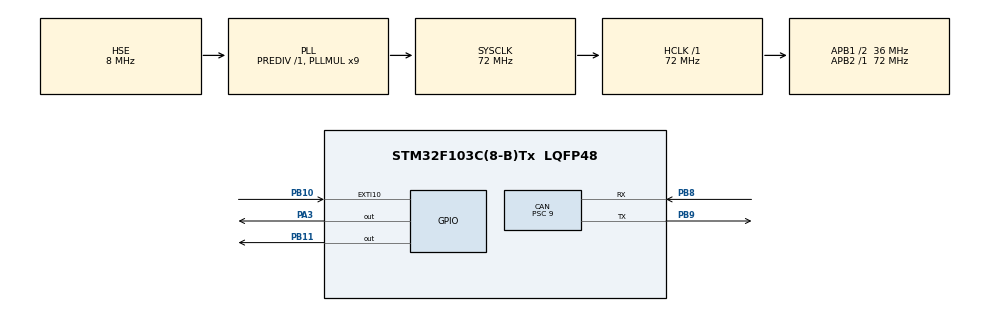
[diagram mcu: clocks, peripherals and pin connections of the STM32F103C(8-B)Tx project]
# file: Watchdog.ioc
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Mcu.Family=STM32F1
RCC.PLLSourceVirtual=RCC_PLLSOURCE_HSE
PC15-OSC32_OUT.Mode=LSE-External-Oscillator
TIM4.AutoReloadPreload=TIM_AUTORELOAD_PRELOAD_ENABLE
PD1-OSC_OUT.Mode=HSE-External-Oscillator
VP_TIM4_VS_OPM.Mode=OPM_bit
CAN.CalculateBaudRate=250000
PB8.GPIO_PuPd=GPIO_NOPULL
PD0-OSC_IN.Signal=RCC_OSC_IN
PB11.GPIO_PuPd=GPIO_PULLDOWN
RCC.APB1CLKDivider=RCC_HCLK_DIV2
PC14-OSC32_IN.Signal=RCC_OSC32_IN
PB11.Signal=GPIO_Output
CAN.CalculateTimeBit=4000.00
RCC.SYSCLKSource=RCC_SYSCLKSOURCE_PLLCLK
ProjectManager.StackSize=0x400
PD1-OSC_OUT.Signal=RCC_OSC_OUT
PA13.Signal=SYS_JTMS-SWDIO
CAN.BS2=CAN_BS2_8TQ
CAN.BS1=CAN_BS1_7TQ
CAN.Prescaler=9
ProjectManager.TargetToolchain=STM32CubeIDE
RCC.HCLKFreq_Value=72000000
PB9.Mode=CAN_Activate
RCC.APB2TimFreq_Value=72000000
RCC.USBFreq_Value=72000000
CAN.Mode=CAN_MODE_NORMAL
TIM4.Prescaler=10986
PC15-OSC32_OUT.Signal=RCC_OSC32_OUT
RCC.AHBFreq_Value=72000000
PD0-OSC_IN.Mode=HSE-External-Oscillator
PB10.Signal=GPXTI10
NVIC.EXTI15_10_IRQn=true\:0\:0\:false\:false\:true\:true\:true
board=custom
RCC.PLLMUL=RCC_PLL_MUL9
PB9.GPIO_Mode=GPIO_MODE_AF_PP
RCC.APB2Freq_Value=72000000
PC14-OSC32_IN.Mode=LSE-External-Oscillator
VP_TIM2_VS_ClockSourceINT.Mode=Internal
PA14.Mode=Serial_Wire
CAN.NART=ENABLE
NVIC.TIM2_IRQn=true\:0\:0\:false\:false\:true\:true\:true
PA13.Mode=Serial_Wire
Mcu.Name=STM32F103C(8-B)Tx
CAN.CalculateTimeQuantum=250.0
RCC.SYSCLKFreq_VALUE=72000000
Mcu.Package=LQFP48
PB9.Signal=CAN_TX
TIM2.Prescaler=10
PA14.Signal=SYS_JTCK-SWCLK
ProjectManager.HeapSize=0x200
NVIC.PriorityGroup=NVIC_PRIORITYGROUP_4
PB9.GPIO_Speed=GPIO_SPEED_FREQ_HIGH
PB8.Mode=CAN_Activate
CAN.TXFP=ENABLE
RCC.APB1TimFreq_Value=72000000
PB8.Signal=CAN_RX
RCC.APB1Freq_Value=36000000
PA3.Signal=GPIO_Output

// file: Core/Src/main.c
/* USER CODE BEGIN Header */
/**
  ******************************************************************************
  * @file           : main.c
  * @brief          : Main program body
  ******************************************************************************
  * @attention
  *
  * <h2><center>&copy; Copyright (c) 2021 STMicroelectronics.
  * All rights reserved.</center></h2>
  *
  * This software component is licensed by ST under BSD 3-Clause license,
  * the "License"; You may not use this file except in compliance with the
  * License. You may obtain a copy of the License at:
  *                        opensource.org/licenses/BSD-3-Clause
  *
  ******************************************************************************
  */
/* USER CODE END Header */
#include "main.h"

/* USER CODE BEGIN Includes */
#include "parallel_ram.h"
#include "circle_queue.h"

/* USER CODE END Includes */

CAN_HandleTypeDef hcan;

TIM_HandleTypeDef htim2;
TIM_HandleTypeDef htim4;

/* USER CODE BEGIN PV */
struct Queue queueRAM = {0, 0, {0}};
struct Queue queueRx = {0, 0, {0}};
#define PACKAGE_SIZE 8
uint32_t counter = 0;

CAN_FilterTypeDef CanFilter;
CAN_TxHeaderTypeDef CanTxHeader;
CAN_RxHeaderTypeDef CanRxHeader;
/* USER CODE END PV */

void SystemClock_Config(void);
static void MX_GPIO_Init(void);
static void MX_CAN_Init(void);
static void MX_TIM4_Init(void);
static void MX_TIM2_Init(void);

/* USER CODE BEGIN 0 */

void watchDogHandler(){
	counter = 0;
}

/* USER CODE END 0 */

int main(void)
{

  /* MCU Configuration--------------------------------------------------------*/

  /* Reset of all peripherals, Initializes the Flash interface and the Systick. */
  HAL_Init();

  /* USER CODE BEGIN Init */
  HAL_CAN_Start(&hcan);
  HAL_TIM_Base_Start_IT(&htim2);
  /* USER CODE END Init */

  /* Configure the system clock */
  SystemClock_Config();

  /* Initialize all configured peripherals */
  MX_GPIO_Init();
  MX_CAN_Init();
  MX_TIM4_Init();
  MX_TIM2_Init();
  /* USER CODE BEGIN 2 */

  /*	if(GPIO_Pin == GPIO_PIN_0){
  		HAL_GPIO_TogglePin(GPIOB, GPIO_PIN_12);
  		//Kode der implementerer en cirkel buffer
  		for (int i = 0; i<8; i++){
  			EnterQueue(&queueRAM,(uint8_t) 15);
  		}
  		for (int i = 0; i<8; i++){
  			EnterQueue(&queueRAM,(uint8_t) 27);
  		}
  		for (int i = 0; i<8; i++){
  			EnterQueue(&queueRAM,(uint8_t) 102);
  		}
  	}
  	*/
  //	sendData(0x3, 1024, tESTdATA);
  	//sendData(0x5, 1024, tESTdATA);
  	//sendData(0x7, 1024, tESTdATA);

  /* USER CODE END 2 */

  /* Infinite loop */
  /* USER CODE BEGIN WHILE */
  while (1)
  {

	  uint8_t fejlmereArray[8] = {2, 2, 2, 2, 2, 2, 2, 2};
	 // sendData(0xA, 8, &fejlmereArray);

	  if (counter % 1000 == 0)
	  {
		  HAL_GPIO_WritePin(GPIOB, GPIO_PIN_11, GPIO_PIN_SET);
		  HAL_Delay(50);
		  HAL_GPIO_WritePin(GPIOB, GPIO_PIN_11, GPIO_PIN_RESET);
	  }
	  if (counter > 10000){
	  sendData(0xA, 8, &fejlmereArray);
	  counter = 0;
	  }

    /* USER CODE END WHILE */

  }
}

void SystemClock_Config(void)
{
  RCC_OscInitTypeDef RCC_OscInitStruct = {0};
  RCC_ClkInitTypeDef RCC_ClkInitStruct = {0};

  /** Initializes the RCC Oscillators according to the specified parameters
  * in the RCC_OscInitTypeDef structure.
  */
  RCC_OscInitStruct.OscillatorType = RCC_OSCILLATORTYPE_HSE;
  RCC_OscInitStruct.HSEState = RCC_HSE_ON;
  RCC_OscInitStruct.HSEPredivValue = RCC_HSE_PREDIV_DIV1;
  RCC_OscInitStruct.HSIState = RCC_HSI_ON;
  RCC_OscInitStruct.PLL.PLLState = RCC_PLL_ON;
  RCC_OscInitStruct.PLL.PLLSource = RCC_PLLSOURCE_HSE;
  RCC_OscInitStruct.PLL.PLLMUL = RCC_PLL_MUL9;
  if (HAL_RCC_OscConfig(&RCC_OscInitStruct) != HAL_OK)
  {
    Error_Handler();
  }
  /** Initializes the CPU, AHB and APB buses clocks
  */
  RCC_ClkInitStruct.ClockType = RCC_CLOCKTYPE_HCLK|RCC_CLOCKTYPE_SYSCLK
                              |RCC_CLOCKTYPE_PCLK1|RCC_CLOCKTYPE_PCLK2;
  RCC_ClkInitStruct.SYSCLKSource = RCC_SYSCLKSOURCE_PLLCLK;
  RCC_ClkInitStruct.AHBCLKDivider = RCC_SYSCLK_DIV1;
  RCC_ClkInitStruct.APB1CLKDivider = RCC_HCLK_DIV2;
  RCC_ClkInitStruct.APB2CLKDivider = RCC_HCLK_DIV1;

  if (HAL_RCC_ClockConfig(&RCC_ClkInitStruct, FLASH_LATENCY_2) != HAL_OK)
  {
    Error_Handler();
  }
}

static void MX_CAN_Init(void)
{

  /* USER CODE BEGIN CAN_Init 0 */

	  CanTxHeader.DLC = PACKAGE_SIZE;						// Der kommer 8 byte som data i beskeden
	  CanTxHeader.ExtId = 0x00000000;						// 32 bit ID (29 er identifier)
	  CanTxHeader.IDE = CAN_ID_EXT;							// Vi har et extended ID = 32 bit til forskel fra standard på 16 bit (11 er identifier)
	  CanTxHeader.RTR = CAN_RTR_DATA;						// Vi sender data
	  CanTxHeader.TransmitGlobalTime = DISABLE;				// Der skal IKKE sendes et timestamp med hver besked

  /* USER CODE END CAN_Init 0 */

  /* USER CODE BEGIN CAN_Init 1 */

	  __HAL_RCC_CAN1_CLK_ENABLE();

  /* USER CODE END CAN_Init 1 */
  hcan.Instance = CAN1;
  hcan.Init.Prescaler = 9;
  hcan.Init.Mode = CAN_MODE_NORMAL;
  hcan.Init.SyncJumpWidth = CAN_SJW_1TQ;
  hcan.Init.TimeSeg1 = CAN_BS1_7TQ;
  hcan.Init.TimeSeg2 = CAN_BS2_8TQ;
  hcan.Init.TimeTriggeredMode = DISABLE;
  hcan.Init.AutoBusOff = DISABLE;
  hcan.Init.AutoWakeUp = DISABLE;
  hcan.Init.AutoRetransmission = ENABLE;
  hcan.Init.ReceiveFifoLocked = DISABLE;
  hcan.Init.TransmitFifoPriority = ENABLE;
  if (HAL_CAN_Init(&hcan) != HAL_OK)
  {
    Error_Handler();
  }
  /* USER CODE BEGIN CAN_Init 2 */

  //HAL_CAN_ConfigFilter(&hcan, &CanFilter);
  //HAL_CAN_ActivateNotification(&hcan, CAN_IT_RX_FIFO0_MSG_PENDING);
  HAL_CAN_Start(&hcan);
  /* USER CODE END CAN_Init 2 */

}

static void MX_TIM2_Init(void)
{

  TIM_ClockConfigTypeDef sClockSourceConfig = {0};
  TIM_MasterConfigTypeDef sMasterConfig = {0};

  htim2.Instance = TIM2;
  htim2.Init.Prescaler = 10;
  htim2.Init.CounterMode = TIM_COUNTERMODE_UP;
  htim2.Init.Period = 65535;
  htim2.Init.ClockDivision = TIM_CLOCKDIVISION_DIV1;
  htim2.Init.AutoReloadPreload = TIM_AUTORELOAD_PRELOAD_DISABLE;
  if (HAL_TIM_Base_Init(&htim2) != HAL_OK)
  {
    Error_Handler();
  }
  sClockSourceConfig.ClockSource = TIM_CLOCKSOURCE_INTERNAL;
  if (HAL_TIM_ConfigClockSource(&htim2, &sClockSourceConfig) != HAL_OK)
  {
    Error_Handler();
  }
  sMasterConfig.MasterOutputTrigger = TIM_TRGO_RESET;
  sMasterConfig.MasterSlaveMode = TIM_MASTERSLAVEMODE_DISABLE;
  if (HAL_TIMEx_MasterConfigSynchronization(&htim2, &sMasterConfig) != HAL_OK)
  {
    Error_Handler();
  }

}

static void MX_TIM4_Init(void)
{

  TIM_MasterConfigTypeDef sMasterConfig = {0};

  htim4.Instance = TIM4;
  htim4.Init.Prescaler = 10986;
  htim4.Init.CounterMode = TIM_COUNTERMODE_UP;
  htim4.Init.Period = 65535;
  htim4.Init.ClockDivision = TIM_CLOCKDIVISION_DIV1;
  htim4.Init.AutoReloadPreload = TIM_AUTORELOAD_PRELOAD_ENABLE;
  if (HAL_TIM_OnePulse_Init(&htim4, TIM_OPMODE_SINGLE) != HAL_OK)
  {
    Error_Handler();
  }
  sMasterConfig.MasterOutputTrigger = TIM_TRGO_RESET;
  sMasterConfig.MasterSlaveMode = TIM_MASTERSLAVEMODE_DISABLE;
  if (HAL_TIMEx_MasterConfigSynchronization(&htim4, &sMasterConfig) != HAL_OK)
  {
    Error_Handler();
  }

}

static void MX_GPIO_Init(void)
{
  GPIO_InitTypeDef GPIO_InitStruct = {0};

  /* GPIO Ports Clock Enable */
  __HAL_RCC_GPIOC_CLK_ENABLE();
  __HAL_RCC_GPIOD_CLK_ENABLE();
  __HAL_RCC_GPIOA_CLK_ENABLE();
  __HAL_RCC_GPIOB_CLK_ENABLE();

  /*Configure GPIO pin Output Level */
  HAL_GPIO_WritePin(GPIOA, GPIO_PIN_3, GPIO_PIN_RESET);

  /*Configure GPIO pin Output Level */
  HAL_GPIO_WritePin(GPIOB, GPIO_PIN_11, GPIO_PIN_RESET);

  /*Configure GPIO pin : PA3 */
  GPIO_InitStruct.Pin = GPIO_PIN_3;
  GPIO_InitStruct.Mode = GPIO_MODE_OUTPUT_PP;
  GPIO_InitStruct.Pull = GPIO_NOPULL;
  GPIO_InitStruct.Speed = GPIO_SPEED_FREQ_LOW;
  HAL_GPIO_Init(GPIOA, &GPIO_InitStruct);

  /*Configure GPIO pin : PB10 */
  GPIO_InitStruct.Pin = GPIO_PIN_10;
  GPIO_InitStruct.Mode = GPIO_MODE_IT_RISING;
  GPIO_InitStruct.Pull = GPIO_NOPULL;
  HAL_GPIO_Init(GPIOB, &GPIO_InitStruct);

  /*Configure GPIO pin : PB11 */
  GPIO_InitStruct.Pin = GPIO_PIN_11;
  GPIO_InitStruct.Mode = GPIO_MODE_OUTPUT_PP;
  GPIO_InitStruct.Pull = GPIO_PULLDOWN;
  GPIO_InitStruct.Speed = GPIO_SPEED_FREQ_LOW;
  HAL_GPIO_Init(GPIOB, &GPIO_InitStruct);

  /* EXTI interrupt init*/
  HAL_NVIC_SetPriority(EXTI15_10_IRQn, 0, 0);
  HAL_NVIC_EnableIRQ(EXTI15_10_IRQn);

}

/* USER CODE BEGIN 4 */

void HAL_SYSTICK_Callback(void){
	counter++;
}

void HAL_GPIO_EXTI_Callback(uint16_t GPIO_Pin)
{
	 uint8_t tESTdATA[1024];
	 for (int i = 0; i < 1024; i++) {
		 tESTdATA[i] = i % 256;
	 }
/*	if(GPIO_Pin == GPIO_PIN_0){
		HAL_GPIO_TogglePin(GPIOB, GPIO_PIN_12);
		//Kode der implementerer en cirkel buffer
		for (int i = 0; i<8; i++){
			EnterQueue(&queueRAM,(uint8_t) 15);
		}
		for (int i = 0; i<8; i++){
			EnterQueue(&queueRAM,(uint8_t) 27);
		}
		for (int i = 0; i<8; i++){
			EnterQueue(&queueRAM,(uint8_t) 102);
		}
	}
	*/
	 uint8_t fejlFjerdeArray[8] = {4,4,4,4,4,4,4,4};
	//sendData(0xA, 8, fejlFjerdeArray);
	//sendData(0x5, 1024, tESTdATA);
	//sendData(0x7, 1024, tESTdATA);
}

void sendData(uint32_t TxID, uint16_t numOfBytes, uint8_t *dataArray) {
	uint8_t dataToMB[PACKAGE_SIZE] = {0};
	uint32_t randoMailBox;
	CanTxHeader.ExtId = TxID;
if (numOfBytes % PACKAGE_SIZE == 0)
{
	for (int i = 0; i < numOfBytes/PACKAGE_SIZE; i++) {
		while (HAL_CAN_GetTxMailboxesFreeLevel(&hcan) == 0) {}
		if (messageSplitter(dataArray, dataToMB, i)) {
			if (HAL_CAN_AddTxMessage(&hcan, &CanTxHeader, dataToMB, &randoMailBox) != HAL_OK) {
				Error_Handler();
			}
		}
	}

}
else {return 0;}

}
void messageSplitter(uint8_t *sourceArray, uint8_t *destinationArray, uint8_t position)
{

	for(int i=0 ; i < PACKAGE_SIZE; i++)
	{
		*(destinationArray + i) = *(sourceArray + (position * 8) + i);

}
return 1;
}

void HAL_TIM_PeriodElapsedCallback(TIM_HandleTypeDef* htim)
{

	  uint8_t fejlArray[8] = {1};
	  sendData(0xA, 8, fejlArray);
}
void fillDataArray(struct Queue *source, uint8_t *data) {
	for (int i = 0; i < PACKAGE_SIZE; i++) {
		if (LeaveQueue(source, data + i)) { //Gemmer en byte fra source til data. Flere bytes gemmes ved at inkrementere data (som jo er en pointer til hvert element i data[])
			continue;
		} else {
			return 0;
		}
	}
	return 1;
}

/* USER CODE END 4 */

void Error_Handler(void)
{
  __disable_irq();
  while (1)
  {
  }
}

/************************ (C) COPYRIGHT STMicroelectronics *****END OF FILE****/
